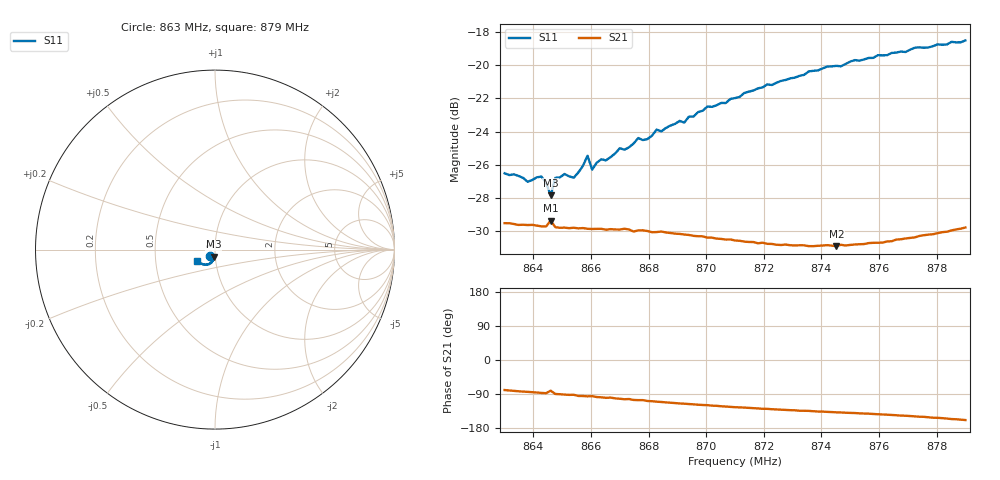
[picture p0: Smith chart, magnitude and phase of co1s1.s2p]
# HZ S RI R 50
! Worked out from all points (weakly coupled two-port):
!   101 points, 863 MHz to 879 MHz, reference 50 ohm
!   highest |S21| = -29.36 dB at 864.6 MHz (marker M1); lowest = -30.9 dB at 874.52 MHz (marker M2)
!   lowest |S11| = -27.8 dB at 864.6 MHz (marker M3), VSWR 1.08, Z = 49.1 - j3.91 ohm
!   |S11| at or under -10 dB: start of sweep to end of sweep
!   S12 and S22 are empty: the file has one direction only
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8.63e8  -0.0286 -0.0376  0.0062 -0.0329  0 0  0 0
8.638e8  -0.024 -0.0375  0.00342 -0.0328  0 0  0 0
8.6428e8  -0.0197 -0.0418  0.00177 -0.0327  0 0  0 0
8.646e8  -0.00777 -0.0398  0.00536 -0.0336  0 0  0 0
8.6476e8  -0.0181 -0.0421  0.000212 -0.0325  0 0  0 0
8.6508e8  -0.0153 -0.0445  -0.000703 -0.0324  0 0  0 0
8.654e8  -0.0135 -0.0438  -0.001 -0.0324  0 0  0 0
8.6572e8  -0.014 -0.0478  -0.00284 -0.0322  0 0  0 0
8.6588e8  -0.0179 -0.0503  -0.0033 -0.032  0 0  0 0
8.6604e8  -0.0115 -0.0471  -0.00303 -0.032  0 0  0 0
8.67e8  -0.0145 -0.0543  -0.00677 -0.0313  0 0  0 0
8.6732e8  -0.0113 -0.0554  -0.0072 -0.0312  0 0  0 0
8.6764e8  -0.0154 -0.0583  -0.00873 -0.0306  0 0  0 0
8.6796e8  -0.0124 -0.0586  -0.00988 -0.0301  0 0  0 0
8.6828e8  -0.0132 -0.0626  -0.0107 -0.0296  0 0  0 0
8.6844e8  -0.0138 -0.0616  -0.0112 -0.0295  0 0  0 0
8.7004e8  -0.0207 -0.0721  -0.0147 -0.0264  0 0  0 0
8.71e8  -0.0245 -0.0757  -0.0168 -0.0244  0 0  0 0
8.7372e8  -0.0456 -0.0846  -0.0202 -0.0201  0 0  0 0
8.7452e8  -0.0547 -0.083  -0.0212 -0.0191  0 0  0 0
8.7644e8  -0.0738 -0.0799  -0.0242 -0.0169  0 0  0 0
8.79e8  -0.1004 -0.0631  -0.0302 -0.0119  0 0  0 0
